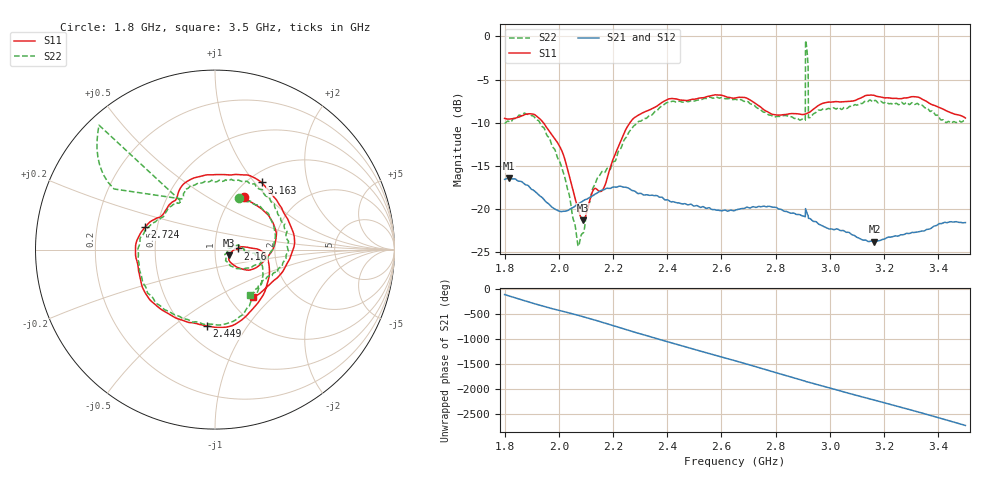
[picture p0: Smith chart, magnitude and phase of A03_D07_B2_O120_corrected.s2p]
! Created with skrf 1.9.0 (http://scikit-rf.org).
# Hz S RI R 50.0
!freq ReS11 ImS11 ReS21 ImS21 ReS12 ImS12 ReS22 ImS22
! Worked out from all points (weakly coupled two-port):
!   1601 points, 1.8 GHz to 3.5 GHz, reference 50 ohm
!   highest |S21| = -16.48 dB at 1.816 GHz (marker M1); lowest = -23.8 dB at 3.164 GHz (marker M2)
!   lowest |S11| = -21.3 dB at 2.09 GHz (marker M3), VSWR 1.19, Z = 58.5 - j3.79 ohm
!   |S11| at or under -10 dB: 1.943 GHz to 2.263 GHz (319.8 MHz wide, 15.2 % of centre)
!   |S22| runs from -24.3 to -0.5 dB; largest |S21 - S12| = 0.0029
!   S11 on the Smith chart (normalised r, x): 1.8 GHz: 1.12, +0.74; 2.16 GHz: 1.29, +0.02; 2.449 GHz: 0.64, -0.67; 2.724 GHz: 0.43, +0.13; 3.163 GHz: 1.15, +1.09; 3.5 GHz: 1.28, -0.76
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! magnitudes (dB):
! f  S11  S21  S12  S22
! 1.8 GHz  -9.5  -16.6  -16.6  -10.0
! 1.816 GHz  -9.6  -16.5  -16.5  -9.9
! 1.943 GHz  -10.0  -18.9  -18.9  -10.6
! 2.013 GHz  -13.4  -20.3  -20.3  -15.4
! 2.069 GHz  -19.8  -19.5  -19.5  -24.0
! 2.084 GHz  -21.1  -19.2  -19.2  -23.0
! 2.09 GHz  -21.3  -19.1  -19.1  -22.8
! 2.127 GHz  -17.8  -18.4  -18.4  -17.5
! 2.16 GHz  -17.9  -17.8  -17.8  -15.7
! 2.259 GHz  -10.2  -17.6  -17.7  -11.1
! 2.367 GHz  -8.0  -18.6  -18.5  -8.4
! 2.449 GHz  -7.4  -19.4  -19.4  -7.5
! 2.65 GHz  -7.1  -20.2  -20.2  -7.3
! 2.724 GHz  -7.8  -19.8  -19.8  -8.1
! 2.901 GHz  -9.1  -20.8  -20.9  -9.6
! 2.911 GHz  -9.0  -20.1  -20.1  -0.6
! 2.919 GHz  -8.9  -20.7  -20.7  -3.0
! 2.934 GHz  -8.6  -21.3  -21.3  -9.2
! 3.163 GHz  -6.8  -23.8  -23.8  -7.5
! 3.164 GHz  -6.8  -23.8  -23.8  -7.5
! 3.217 GHz  -7.1  -23.3  -23.3  -7.8
! 3.5 GHz  -9.5  -21.6  -21.6  -9.9
